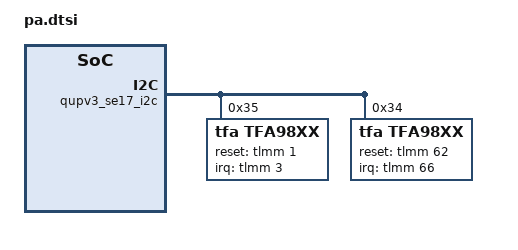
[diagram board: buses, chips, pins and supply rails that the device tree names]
&qupv3_se17_i2c {
    status = "ok";

	#address-cells = <1>;
	#size-cells = <0>;
	
	tfa98xx@35 {
		compatible = "tfa,tfa98xx";
		status = "ok";
		reg = <0x35>;
		reset-gpio = <&tlmm 1 0x00>;
		irq-gpio = <&tlmm 3 0x00>;
		reset-polarity = <1>;
		is-primary = <0>;
	};

	tfa98xx@34 {
		compatible = "tfa,tfa98xx";
		status = "ok";
		reg = <0x34>;
		reset-gpio = <&tlmm 62 0x00>;
		irq-gpio = <&tlmm 66 0x00>;
		reset-polarity = <1>;
		is-primary = <1>;
	};
};
